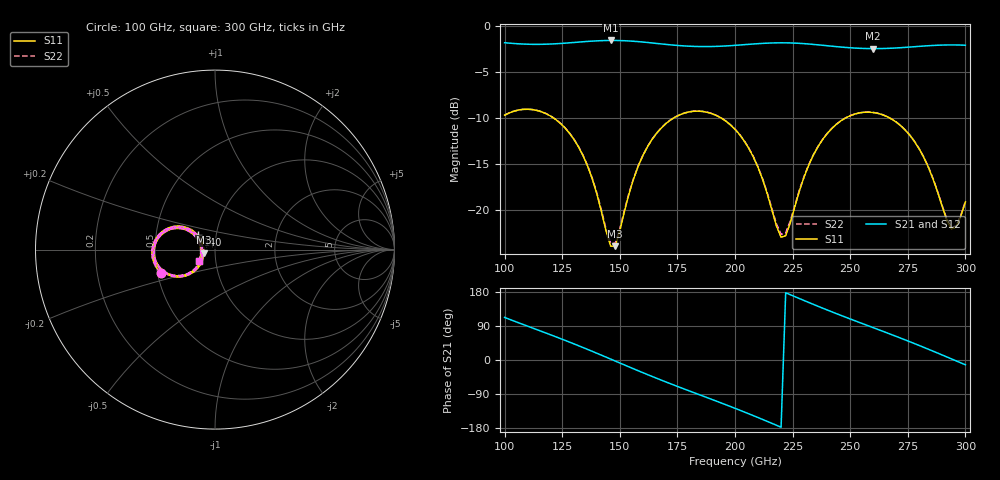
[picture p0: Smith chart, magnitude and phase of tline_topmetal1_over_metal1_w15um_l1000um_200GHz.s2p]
#  GHZ S DB R 50
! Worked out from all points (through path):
!   101 points, 100 GHz to 300 GHz, reference 50 ohm
!   highest |S21| = -1.61 dB at 146 GHz (marker M1); lowest = -2.5 dB at 260 GHz (marker M2)
!   group delay of S21, straight-line fit = 6.74 ps
!   lowest |S11| = -23.9 dB at 148 GHz (marker M3), VSWR 1.14, Z = 44.2 - j1.44 ohm
!   |S11| at or under -10 dB: 121.2 GHz to 173.5 GHz (52.3 GHz wide, 35.5 % of centre); 193.9 GHz to 248.1 GHz (54.16 GHz wide, 24.5 % of centre); 267 GHz to end of sweep
!   |S22| runs from -23.6 to -9.1 dB; largest |S21 - S12| = 0
!   S11 on the Smith chart (normalised r, x): 100 GHz: 0.52, -0.15; 140 GHz: 0.82, +0.13; 300 GHz: 0.83, -0.11
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100  -9.71 -156.6  -1.86 112.3  -1.86 112.3  -9.70 -156.5
108  -9.08 -172.2  -2.00 93.8  -2.00 93.8  -9.07 -172.0
118  -9.54 168.6  -2.02 71.0  -2.02 71.0  -9.53 168.9
126  -11.03 153.9  -1.91 52.4  -1.91 52.4  -11.01 154.3
134  -14.06 141.7  -1.75 33.0  -1.75 33.0  -14.02 142.4
140  -18.19 139.9  -1.66 17.9  -1.66 17.9  -18.10 140.9
146  -23.88 171.4  -1.61 2.5  -1.61 2.5  -23.57 171.9
148  -23.89 -165.3  -1.61 -2.7  -1.61 -2.7  -23.59 -165.8
158  -15.22 -133.6  -1.74 -28.4  -1.74 -28.4  -15.19 -134.2
168  -11.09 -147.6  -1.99 -53.1  -1.99 -53.1  -11.08 -147.9
184  -9.27 -177.0  -2.27 -90.4  -2.27 -90.4  -9.26 -177.0
200  -11.24 154.4  -2.14 -127.5  -2.14 -127.5  -11.22 154.7
210  -15.37 142.2  -1.96 -151.9  -1.96 -151.9  -15.31 142.8
220  -22.92 175.3  -1.87 -177.4  -1.87 -177.4  -22.61 175.5
222  -22.76 -165.2  -1.87 177.5  -1.87 177.5  -22.47 -165.8
234  -14.04 -137.8  -2.04 146.8  -2.04 146.8  -14.00 -138.6
246  -10.31 -155.8  -2.33 117.7  -2.33 117.7  -10.30 -156.2
260  -9.42 179.3  -2.50 85.3  -2.50 85.3  -9.41 179.0
268  -10.13 165.2  -2.45 66.9  -2.45 66.9  -10.12 165.0
280  -13.38 147.5  -2.25 38.2  -2.25 38.2  -13.36 147.4
294  -22.01 177.6  -2.10 2.8  -2.10 2.8  -21.88 177.4
300  -19.10 -144.1  -2.13 -12.6  -2.13 -12.6  -19.04 -144.9
